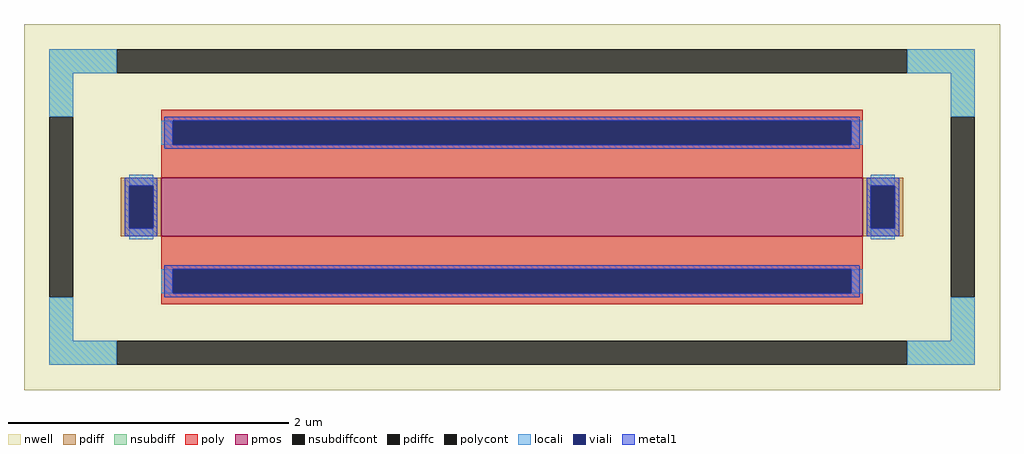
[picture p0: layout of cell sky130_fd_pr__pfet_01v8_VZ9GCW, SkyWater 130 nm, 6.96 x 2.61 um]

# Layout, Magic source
magic
tech sky130A
magscale 1 2
<< nwell >>
rect -696 -261 696 261
<< pmos >>
rect -500 -42 500 42
<< pdiff >>
rect -558 30 -500 42
rect -558 -30 -546 30
rect -512 -30 -500 30
rect -558 -42 -500 -30
rect 500 30 558 42
rect 500 -30 512 30
rect 546 -30 558 30
rect 500 -42 558 -30
<< pdiffc >>
rect -546 -30 -512 30
rect 512 -30 546 30
<< nsubdiff >>
rect -660 191 -564 225
rect 564 191 660 225
rect -660 129 -626 191
rect 626 129 660 191
rect -660 -191 -626 -129
rect 626 -191 660 -129
rect -660 -225 -564 -191
rect 564 -225 660 -191
<< nsubdiffcont >>
rect -564 191 564 225
rect -660 -129 -626 129
rect 626 -129 660 129
rect -564 -225 564 -191
<< poly >>
rect -500 123 500 139
rect -500 89 -484 123
rect 484 89 500 123
rect -500 42 500 89
rect -500 -89 500 -42
rect -500 -123 -484 -89
rect 484 -123 500 -89
rect -500 -139 500 -123
<< polycont >>
rect -484 89 484 123
rect -484 -123 484 -89
<< locali >>
rect -660 191 -564 225
rect 564 191 660 225
rect -660 129 -626 191
rect 626 129 660 191
rect -500 89 -484 123
rect 484 89 500 123
rect -546 30 -512 46
rect -546 -46 -512 -30
rect 512 30 546 46
rect 512 -46 546 -30
rect -500 -123 -484 -89
rect 484 -123 500 -89
rect -660 -191 -626 -129
rect 626 -191 660 -129
rect -660 -225 -564 -191
rect 564 -225 660 -191
<< viali >>
rect -484 89 484 123
rect -546 -30 -512 30
rect 512 -30 546 30
rect -484 -123 484 -89
<< metal1 >>
rect -496 123 496 129
rect -496 89 -484 123
rect 484 89 496 123
rect -496 83 496 89
rect -552 30 -506 42
rect -552 -30 -546 30
rect -512 -30 -506 30
rect -552 -42 -506 -30
rect 506 30 552 42
rect 506 -30 512 30
rect 546 -30 552 30
rect 506 -42 552 -30
rect -496 -89 496 -83
rect -496 -123 -484 -89
rect 484 -123 496 -89
rect -496 -129 496 -123
<< properties >>
string FIXED_BBOX -643 -208 643 208
string gencell sky130_fd_pr__pfet_01v8
string library sky130
string parameters w 0.42 l 5.0 m 1 nf 1 diffcov 100 polycov 100 guard 1 glc 1 grc 1 gtc 1 gbc 1 tbcov 100 rlcov 100 topc 1 botc 1 poverlap 0 doverlap 1 lmin 0.15 wmin 0.42 compatible {sky130_fd_pr__pfet_01v8  sky130_fd_pr__pfet_01v8_lvt sky130_fd_pr__pfet_01v8_hvt  sky130_fd_pr__pfet_g5v0d10v5} full_metal 1 viasrc 100 viadrn 100 viagate 100 viagb 0 viagr 0 viagl 0 viagt 0
<< end >>
